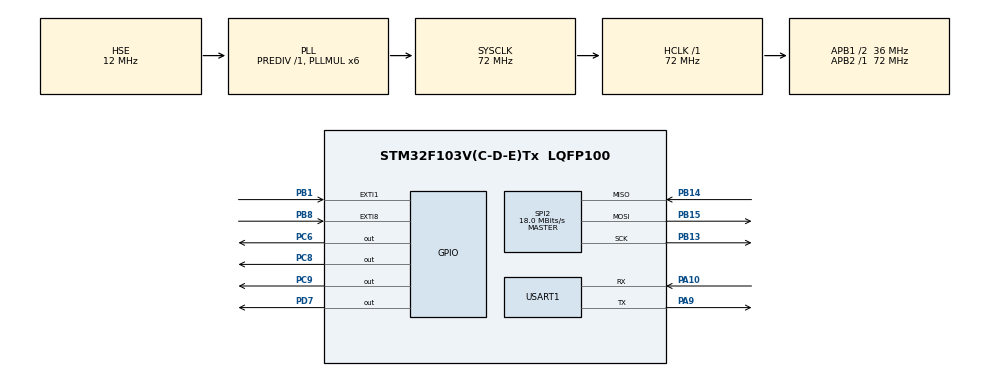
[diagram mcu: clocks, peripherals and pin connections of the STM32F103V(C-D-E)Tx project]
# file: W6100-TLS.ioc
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Mcu.Family=STM32F1
Mcu.Name=STM32F103V(C-D-E)Tx
Mcu.Package=LQFP100
NVIC.PriorityGroup=NVIC_PRIORITYGROUP_4
NVIC.USART1_IRQn=true\:0\:0\:false\:false\:true\:true\:true
OSC_IN.Mode=HSE-External-Oscillator
OSC_IN.Signal=RCC_OSC_IN
OSC_OUT.Mode=HSE-External-Oscillator
OSC_OUT.Signal=RCC_OSC_OUT
PA10.Mode=Asynchronous
PA10.Signal=USART1_RX
PA13.Mode=Serial_Wire
PA13.Signal=SYS_JTMS-SWDIO
PA14.Mode=Serial_Wire
PA14.Signal=SYS_JTCK-SWCLK
PA9.Mode=Asynchronous
PA9.Signal=USART1_TX
PB1.Signal=GPXTI1
PB13.Mode=Full_Duplex_Master
PB13.Signal=SPI2_SCK
PB14.Mode=Full_Duplex_Master
PB14.Signal=SPI2_MISO
PB15.Mode=Full_Duplex_Master
PB15.Signal=SPI2_MOSI
PB8.Signal=GPXTI8
PC6.Signal=GPIO_Output
PC8.Signal=GPIO_Output
PC9.Signal=GPIO_Output
PD7.Signal=GPIO_Output
ProjectManager.HeapSize=0x200
ProjectManager.StackSize=0x400
ProjectManager.TargetToolchain=TrueSTUDIO
RCC.AHBFreq_Value=72000000
RCC.APB1CLKDivider=RCC_HCLK_DIV2
RCC.APB1Freq_Value=36000000
RCC.APB1TimFreq_Value=72000000
RCC.APB2Freq_Value=72000000
RCC.APB2TimFreq_Value=72000000
RCC.HCLKFreq_Value=72000000
RCC.HSE_VALUE=12000000
RCC.PLLMUL=RCC_PLL_MUL6
RCC.PLLSourceVirtual=RCC_PLLSOURCE_HSE
RCC.SYSCLKFreq_VALUE=72000000
RCC.SYSCLKSource=RCC_SYSCLKSOURCE_PLLCLK
RCC.USBFreq_Value=72000000
SPI2.BaudRatePrescaler=SPI_BAUDRATEPRESCALER_2
SPI2.CalculateBaudRate=18.0 MBits/s
SPI2.Direction=SPI_DIRECTION_2LINES
SPI2.Mode=SPI_MODE_MASTER
SPI2.VirtualType=VM_MASTER
USART1.VirtualMode=VM_ASYNC
board=custom

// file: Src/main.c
/* USER CODE BEGIN Header */
/**
  ******************************************************************************
  * @file           : main.c
  * @brief          : Main program body
  ******************************************************************************
  * @attention
  *
  * <h2><center>&copy; Copyright (c) 2019 STMicroelectronics.
  * All rights reserved.</center></h2>
  *
  * This software component is licensed by ST under BSD 3-Clause license,
  * the "License"; You may not use this file except in compliance with the
  * License. You may obtain a copy of the License at:
  *                        opensource.org/licenses/BSD-3-Clause
  *
  ******************************************************************************
  */
/* USER CODE END Header */

#include "main.h"

/* USER CODE BEGIN Includes */
#include "loopback.h"
#include "wizchip_conf.h"
#include "board_init.h"
#include "W6100.h"
#include "SSLInterface.h"
#include <string.h>
//#include "HexTrans.h"
/* USER CODE END Includes */

/* USER CODE BEGIN PTD */
#define True_STD
#define ETH_MAX_BUF_SIZE	2048
#define SERVER_PORT			8883
/* USER CODE END PTD */

SPI_HandleTypeDef hspi2;

UART_HandleTypeDef huart1;

/* USER CODE BEGIN PV */
wiz_NetInfo gWIZNETINFO = { .mac = {0x00,0x08,0xdc,0xff,0xff,0xff},
							.ip = {192,168,0,130},
							.sn = {255, 255, 255, 0},
							.gw = {192, 168, 0, 1},
							.dns = {8, 8, 8, 8},
							.lla = {0xfe,0x80, 0x00,0x00,
								 0x00,0x00, 0x00,0x00,
								 0x02,0x08, 0xdc,0xff,
								 0xfe,0xff, 0xff,0xff},
				            .gua={0x20,0x01,0x02,0xb8,
								 0x00,0x10,0x00,0x01,
								 0x02,0x08,0xdc,0xff,
								 0xfe,0xff,0xff,0xff},
				            .sn6={0xff,0xff,0xff,0xff,
								 0xff,0xff,0xff,0xff,
								 0x00,0x00,0x00, 0x00,
								 0x00,0x00,0x00,0x00},
				            .gw6={0xfe, 0x80, 0x00,0x00,
								  0x00,0x00,0x00,0x00,
								  0x02,0x00, 0x87,0xff,
								  0xfe,0x08, 0x4c,0x81}
							};

uint8_t WIZ_Dest_IP[4] = {192, 168, 0, 232};                  //DST_IP Address

uint8_t DestIP6_L[16] = {0xfe,0x80, 0x00,0x00,
						  0x00,0x00, 0x00,0x00,
                          0x31,0x71,0x98,0x05,
                          0x70,0x24,0x4b,0xb1
						};

uint8_t DestIP6_G[16] = {0x20,0x01,0x02,0xb8,
                          0x00,0x10,0x00,0x01,
                          0x31,0x71,0x98,0x05,
                          0x70,0x24,0x4b,0xb1
                         };

uint8_t Router_IP[16]= {0xff,0x02,0x00,0x00,
                          0x00,0x00,0x00,0x00,
                          0x00,0x00,0x00,0x00,
                          0x00,0x00,0x00,0x02
                         };
uint8_t data_buf[2048];
void print_network_information(void);
/* USER CODE END PV */

void SystemClock_Config(void);
static void MX_GPIO_Init(void);
static void MX_SPI2_Init(void);
static void MX_USART1_UART_Init(void);
/* USER CODE BEGIN PFP */
unsigned char gServer_IP[4] = {192,168,0,2};
unsigned char ethBuf0[ETH_MAX_BUF_SIZE];
uint8_t rxData[2];
#ifdef KEIL
     #ifdef __GNUC__
     //With GCC, small printf (option LD Linker->Libraries->Small printf
     //set to 'Yes') calls __io_putchar()
         #define PUTCHAR_PROTOTYPE int __io_putchar(int ch)
		#else
				 #define PUTCHAR_PROTOTYPE int fputc(int ch, FILE *f)
		#endif /* __GNUC__*/
#endif

#ifdef True_STD
	int _write(int fd, char *str, int len)
	{
		for(int i=0; i<len; i++)
		{
			HAL_UART_Transmit(&huart1, (uint8_t *)&str[i], 1, 0xFFFF);
		}
		return len;
	}
#endif

void HAL_UART_RxCpltCallback(UART_HandleTypeDef *huart) {

    /*
        This will be called once data is received successfully,
        via interrupts.
    */

     /*
       loop back received data
     */
     HAL_UART_Receive_IT(&huart1, rxData, 1);
     HAL_UART_Transmit(&huart1, rxData, 1, 1000);
}

/* USER CODE END PFP */

int main(void)
{
  /* USER CODE BEGIN 1 */
  uint8_t syslock = SYS_NET_LOCK;

  int len, server_fd = 0;
  unsigned int ret = 0;
  wiz_tls_context tlsContext;
  /* USER CODE END 1 */

  /* MCU Configuration--------------------------------------------------------*/

  /* Reset of all peripherals, Initializes the Flash interface and the Systick. */
  HAL_Init();

  /* Configure the system clock */
  SystemClock_Config();

  /* Initialize all configured peripherals */
  MX_GPIO_Init();
  MX_SPI2_Init();
  MX_USART1_UART_Init();
  /* USER CODE BEGIN 2 */
  HAL_UART_Receive_IT(&huart1, rxData, 1);

  printf("< Hello! MBED TLS System  >\n");
  HAL_GPIO_WritePin(GPIOC, GPIO_PIN_6, GPIO_PIN_SET);
  HAL_GPIO_WritePin(GPIOC, GPIO_PIN_8, GPIO_PIN_SET);
  HAL_GPIO_WritePin(GPIOC, GPIO_PIN_9, GPIO_PIN_SET);

  BoardInitialze();
  ctlwizchip(CW_SYS_UNLOCK,& syslock);
  ctlnetwork(CN_SET_NETINFO,&gWIZNETINFO);

  printf("VERSION(%x) = %.2x \r\n", _VER_,getVER());
  print_network_information();

  /*  initialize ssl context  */
  ret = wiz_tls_init(&tlsContext,&server_fd);
  //printf("init [%d] \r\n", ret);

  /*  Connect to the ssl server  */
  wiz_tls_connect(&tlsContext, SERVER_PORT, gServer_IP);
  printf("connect end \r\n");
  /* USER CODE END 2 */

  /* Infinite loop */
  while (1)
  {

    /* USER CODE BEGIN 3 */
#if 0
	loopback_tcps(0, data_buf, 5000, AS_IPV6);
	loopback_tcps(1, data_buf, 5001, AS_IPV4);
#endif

	len = wiz_tls_read(&tlsContext, ethBuf0, ETH_MAX_BUF_SIZE);

	if(len > 0)
	{
		printf("%s : %d \r\n",ethBuf0, len);
		/*  Write data to the SSL channel  */
		wiz_tls_write(&tlsContext, ethBuf0, len);
	}

	if(strncmp((char *)ethBuf0,"end",3)==0)
	{

	/*  Send close notify  */
	if(wiz_tls_close_notify(&tlsContext) == 0)
		printf("SSL closed\r\n");

	/*  Free tls context  */
	wiz_tls_deinit(&tlsContext);
	}
  }

  /* USER CODE END 3 */
}

void SystemClock_Config(void)
{
  RCC_OscInitTypeDef RCC_OscInitStruct = {0};
  RCC_ClkInitTypeDef RCC_ClkInitStruct = {0};

  /** Initializes the CPU, AHB and APB busses clocks
  */
  RCC_OscInitStruct.OscillatorType = RCC_OSCILLATORTYPE_HSE;
  RCC_OscInitStruct.HSEState = RCC_HSE_ON;
  RCC_OscInitStruct.HSEPredivValue = RCC_HSE_PREDIV_DIV1;
  RCC_OscInitStruct.HSIState = RCC_HSI_ON;
  RCC_OscInitStruct.PLL.PLLState = RCC_PLL_ON;
  RCC_OscInitStruct.PLL.PLLSource = RCC_PLLSOURCE_HSE;
  RCC_OscInitStruct.PLL.PLLMUL = RCC_PLL_MUL6;
  if (HAL_RCC_OscConfig(&RCC_OscInitStruct) != HAL_OK)
  {
    Error_Handler();
  }
  /** Initializes the CPU, AHB and APB busses clocks
  */
  RCC_ClkInitStruct.ClockType = RCC_CLOCKTYPE_HCLK|RCC_CLOCKTYPE_SYSCLK
                              |RCC_CLOCKTYPE_PCLK1|RCC_CLOCKTYPE_PCLK2;
  RCC_ClkInitStruct.SYSCLKSource = RCC_SYSCLKSOURCE_PLLCLK;
  RCC_ClkInitStruct.AHBCLKDivider = RCC_SYSCLK_DIV1;
  RCC_ClkInitStruct.APB1CLKDivider = RCC_HCLK_DIV2;
  RCC_ClkInitStruct.APB2CLKDivider = RCC_HCLK_DIV1;

  if (HAL_RCC_ClockConfig(&RCC_ClkInitStruct, FLASH_LATENCY_2) != HAL_OK)
  {
    Error_Handler();
  }
}

static void MX_SPI2_Init(void)
{

  /* SPI2 parameter configuration*/
  hspi2.Instance = SPI2;
  hspi2.Init.Mode = SPI_MODE_MASTER;
  hspi2.Init.Direction = SPI_DIRECTION_2LINES;
  hspi2.Init.DataSize = SPI_DATASIZE_8BIT;
  hspi2.Init.CLKPolarity = SPI_POLARITY_LOW;
  hspi2.Init.CLKPhase = SPI_PHASE_1EDGE;
  hspi2.Init.NSS = SPI_NSS_SOFT;
  hspi2.Init.BaudRatePrescaler = SPI_BAUDRATEPRESCALER_2;
  hspi2.Init.FirstBit = SPI_FIRSTBIT_MSB;
  hspi2.Init.TIMode = SPI_TIMODE_DISABLE;
  hspi2.Init.CRCCalculation = SPI_CRCCALCULATION_DISABLE;
  hspi2.Init.CRCPolynomial = 10;
  if (HAL_SPI_Init(&hspi2) != HAL_OK)
  {
    Error_Handler();
  }

}

static void MX_USART1_UART_Init(void)
{

  huart1.Instance = USART1;
  huart1.Init.BaudRate = 115200;
  huart1.Init.WordLength = UART_WORDLENGTH_8B;
  huart1.Init.StopBits = UART_STOPBITS_1;
  huart1.Init.Parity = UART_PARITY_NONE;
  huart1.Init.Mode = UART_MODE_TX_RX;
  huart1.Init.HwFlowCtl = UART_HWCONTROL_NONE;
  huart1.Init.OverSampling = UART_OVERSAMPLING_16;
  if (HAL_UART_Init(&huart1) != HAL_OK)
  {
    Error_Handler();
  }

}

static void MX_GPIO_Init(void)
{
  GPIO_InitTypeDef GPIO_InitStruct = {0};

  /* GPIO Ports Clock Enable */
  __HAL_RCC_GPIOB_CLK_ENABLE();
  __HAL_RCC_GPIOC_CLK_ENABLE();
  __HAL_RCC_GPIOA_CLK_ENABLE();
  __HAL_RCC_GPIOD_CLK_ENABLE();

  /*Configure GPIO pin Output Level */
  HAL_GPIO_WritePin(GPIOC, GPIO_PIN_6|GPIO_PIN_8|GPIO_PIN_9, GPIO_PIN_RESET);

  /*Configure GPIO pin Output Level */
  HAL_GPIO_WritePin(GPIOD, GPIO_PIN_7, GPIO_PIN_RESET);

  /*Configure GPIO pins : PB1 PB8 */
  GPIO_InitStruct.Pin = GPIO_PIN_1|GPIO_PIN_8;
  GPIO_InitStruct.Mode = GPIO_MODE_IT_RISING;
  GPIO_InitStruct.Pull = GPIO_NOPULL;
  HAL_GPIO_Init(GPIOB, &GPIO_InitStruct);

  /*Configure GPIO pins : PC6 PC8 PC9 */
  GPIO_InitStruct.Pin = GPIO_PIN_6|GPIO_PIN_8|GPIO_PIN_9;
  GPIO_InitStruct.Mode = GPIO_MODE_OUTPUT_PP;
  GPIO_InitStruct.Pull = GPIO_NOPULL;
  GPIO_InitStruct.Speed = GPIO_SPEED_FREQ_LOW;
  HAL_GPIO_Init(GPIOC, &GPIO_InitStruct);

  /*Configure GPIO pin : PD7 */
  GPIO_InitStruct.Pin = GPIO_PIN_7;
  GPIO_InitStruct.Mode = GPIO_MODE_OUTPUT_PP;
  GPIO_InitStruct.Pull = GPIO_NOPULL;
  GPIO_InitStruct.Speed = GPIO_SPEED_FREQ_LOW;
  HAL_GPIO_Init(GPIOD, &GPIO_InitStruct);

}

/* USER CODE BEGIN 4 */
#ifdef KEIL
	PUTCHAR_PROTOTYPE
 {
		HAL_UART_Transmit(&huart1, (uint8_t *)&ch, 1, 0xFFFF);

		return ch;
 }
#endif
void print_network_information(void)
{
	wizchip_getnetinfo(&gWIZNETINFO);
	printf("Mac address: %02x:%02x:%02x:%02x:%02x:%02x\n\r",gWIZNETINFO.mac[0],gWIZNETINFO.mac[1],gWIZNETINFO.mac[2],gWIZNETINFO.mac[3],gWIZNETINFO.mac[4],gWIZNETINFO.mac[5]);
	printf("IP address : %d.%d.%d.%d\n\r",gWIZNETINFO.ip[0],gWIZNETINFO.ip[1],gWIZNETINFO.ip[2],gWIZNETINFO.ip[3]);
	printf("SN Mask	   : %d.%d.%d.%d\n\r",gWIZNETINFO.sn[0],gWIZNETINFO.sn[1],gWIZNETINFO.sn[2],gWIZNETINFO.sn[3]);
	printf("Gate way   : %d.%d.%d.%d\n\r",gWIZNETINFO.gw[0],gWIZNETINFO.gw[1],gWIZNETINFO.gw[2],gWIZNETINFO.gw[3]);
	printf("DNS Server : %d.%d.%d.%d\n\r",gWIZNETINFO.dns[0],gWIZNETINFO.dns[1],gWIZNETINFO.dns[2],gWIZNETINFO.dns[3]);
	printf("LLA  : %.2X%.2X:%.2X%.2X:%.2X%.2X:%.2X%.2X:%.2X%.2X:%.2X%.2X:%.2X%.2X:%.2X%.2X\r\n",gWIZNETINFO.lla[0],gWIZNETINFO.lla[1],gWIZNETINFO.lla[2],gWIZNETINFO.lla[3],\
									gWIZNETINFO.lla[4],gWIZNETINFO.lla[5],gWIZNETINFO.lla[6],gWIZNETINFO.lla[7],\
									gWIZNETINFO.lla[8],gWIZNETINFO.lla[9],gWIZNETINFO.lla[10],gWIZNETINFO.lla[11],\
									gWIZNETINFO.lla[12],gWIZNETINFO.lla[13],gWIZNETINFO.lla[14],gWIZNETINFO.lla[15]);
	printf("GUA  : %.2X%.2X:%.2X%.2X:%.2X%.2X:%.2X%.2X:%.2X%.2X:%.2X%.2X:%.2X%.2X:%.2X%.2X\n\r",gWIZNETINFO.gua[0],gWIZNETINFO.gua[1],gWIZNETINFO.gua[2],gWIZNETINFO.gua[3],\
									gWIZNETINFO.gua[4],gWIZNETINFO.gua[5],gWIZNETINFO.gua[6],gWIZNETINFO.gua[7],\
									gWIZNETINFO.gua[8],gWIZNETINFO.gua[9],gWIZNETINFO.gua[10],gWIZNETINFO.gua[11],\
									gWIZNETINFO.gua[12],gWIZNETINFO.gua[13],gWIZNETINFO.gua[14],gWIZNETINFO.gua[15]);
	printf("SN6  : %.2X%.2X:%.2X%.2X:%.2X%.2X:%.2X%.2X:%.2X%.2X:%.2X%.2X:%.2X%.2X:%.2X%.2X\n\r",gWIZNETINFO.sn6[0],gWIZNETINFO.sn6[1],gWIZNETINFO.sn6[2],gWIZNETINFO.sn6[3],\
									gWIZNETINFO.sn6[4],gWIZNETINFO.sn6[5],gWIZNETINFO.sn6[6],gWIZNETINFO.sn6[7],\
									gWIZNETINFO.sn6[8],gWIZNETINFO.sn6[9],gWIZNETINFO.sn6[10],gWIZNETINFO.sn6[11],\
									gWIZNETINFO.sn6[12],gWIZNETINFO.sn6[13],gWIZNETINFO.sn6[14],gWIZNETINFO.sn6[15]);
	printf("GW6  : %.2X%.2X:%.2X%.2X:%.2X%.2X:%.2X%.2X:%.2X%.2X:%.2X%.2X:%.2X%.2X:%.2X%.2X\r\n",gWIZNETINFO.gw6[0],gWIZNETINFO.gw6[1],gWIZNETINFO.gw6[2],gWIZNETINFO.gw6[3],\
									gWIZNETINFO.gw6[4],gWIZNETINFO.gw6[5],gWIZNETINFO.gw6[6],gWIZNETINFO.gw6[7],\
									gWIZNETINFO.gw6[8],gWIZNETINFO.gw6[9],gWIZNETINFO.gw6[10],gWIZNETINFO.gw6[11],\
									gWIZNETINFO.gw6[12],gWIZNETINFO.gw6[13],gWIZNETINFO.gw6[14],gWIZNETINFO.gw6[15]);

}
/* USER CODE END 4 */

void Error_Handler(void)
{
}

/************************ (C) COPYRIGHT STMicroelectronics *****END OF FILE****/
